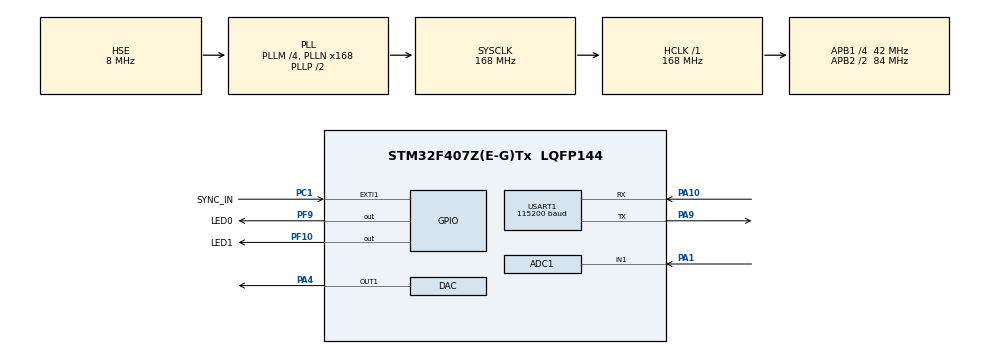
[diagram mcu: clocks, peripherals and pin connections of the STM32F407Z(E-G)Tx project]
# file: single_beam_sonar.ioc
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ADC1.Channel-0\#ChannelRegularConversion=ADC_CHANNEL_1
ADC1.DMAContinuousRequests=ENABLE
ADC1.ExternalTrigConv=ADC_EXTERNALTRIGCONV_T2_TRGO
ADC1.NbrOfConversion=1
ADC1.NbrOfConversionFlag=1
ADC1.Rank-0\#ChannelRegularConversion=1
ADC1.SamplingTime-0\#ChannelRegularConversion=ADC_SAMPLETIME_3CYCLES
ADC1.master=1
DAC.DAC_OutputBuffer=DAC_OUTPUTBUFFER_DISABLE
DAC.DAC_Trigger=DAC_TRIGGER_T2_TRGO
Dma.ADC1.1.Direction=DMA_PERIPH_TO_MEMORY
Dma.ADC1.1.FIFOMode=DMA_FIFOMODE_DISABLE
Dma.ADC1.1.Instance=DMA2_Stream0
Dma.ADC1.1.MemDataAlignment=DMA_MDATAALIGN_HALFWORD
Dma.ADC1.1.MemInc=DMA_MINC_ENABLE
Dma.ADC1.1.Mode=DMA_NORMAL
Dma.ADC1.1.PeriphDataAlignment=DMA_PDATAALIGN_HALFWORD
Dma.ADC1.1.PeriphInc=DMA_PINC_DISABLE
Dma.ADC1.1.Priority=DMA_PRIORITY_LOW
Dma.DAC1.0.Direction=DMA_MEMORY_TO_PERIPH
Dma.DAC1.0.FIFOMode=DMA_FIFOMODE_DISABLE
Dma.DAC1.0.Instance=DMA1_Stream5
Dma.DAC1.0.MemDataAlignment=DMA_MDATAALIGN_HALFWORD
Dma.DAC1.0.MemInc=DMA_MINC_ENABLE
Dma.DAC1.0.Mode=DMA_NORMAL
Dma.DAC1.0.PeriphDataAlignment=DMA_PDATAALIGN_HALFWORD
Dma.DAC1.0.PeriphInc=DMA_PINC_DISABLE
Dma.DAC1.0.Priority=DMA_PRIORITY_LOW
Dma.Request0=DAC1
Dma.Request1=ADC1
Mcu.Family=STM32F4
Mcu.Name=STM32F407Z(E-G)Tx
Mcu.Package=LQFP144
NVIC.DMA1_Stream5_IRQn=true\:0\:0\:false\:false\:true\:false\:true\:true
NVIC.DMA2_Stream0_IRQn=true\:0\:0\:false\:false\:true\:false\:true\:true
NVIC.EXTI1_IRQn=true\:0\:0\:false\:false\:true\:true\:true\:true
NVIC.PriorityGroup=NVIC_PRIORITYGROUP_4
NVIC.TIM7_IRQn=true\:0\:0\:false\:false\:true\:true\:true\:true
NVIC.USART1_IRQn=true\:0\:0\:false\:false\:true\:true\:true\:true
PA1.Signal=ADCx_IN1
PA10.Mode=Asynchronous
PA10.Signal=USART1_RX
PA4.Signal=COMP_DAC1_group
PA9.Mode=Asynchronous
PA9.Signal=USART1_TX
PC1.GPIO_Label=SYNC_IN
PC1.GPIO_PuPd=GPIO_PULLDOWN
PC1.Signal=GPXTI1
PF10.GPIO_Label=LED1
PF10.PinState=GPIO_PIN_SET
PF10.Signal=GPIO_Output
PF9.GPIO_Label=LED0
PF9.PinState=GPIO_PIN_SET
PF9.Signal=GPIO_Output
PH0-OSC_IN.Mode=HSE-External-Oscillator
PH0-OSC_IN.Signal=RCC_OSC_IN
PH1-OSC_OUT.Mode=HSE-External-Oscillator
PH1-OSC_OUT.Signal=RCC_OSC_OUT
ProjectManager.HeapSize=0x200
ProjectManager.StackSize=0x400
ProjectManager.TargetToolchain=CMake
RCC.48MHZClocksFreq_Value=84000000
RCC.AHBFreq_Value=168000000
RCC.APB1CLKDivider=RCC_HCLK_DIV4
RCC.APB1Freq_Value=42000000
RCC.APB1TimFreq_Value=84000000
RCC.APB2CLKDivider=RCC_HCLK_DIV2
RCC.APB2Freq_Value=84000000
RCC.APB2TimFreq_Value=168000000
RCC.CortexFreq_Value=168000000
RCC.HCLKFreq_Value=168000000
RCC.HSE_VALUE=8000000
RCC.HSI_VALUE=16000000
RCC.LSE_VALUE=32768
RCC.PLLM=4
RCC.PLLN=168
RCC.PLLSourceVirtual=RCC_PLLSOURCE_HSE
RCC.SYSCLKFreq_VALUE=168000000
RCC.SYSCLKSource=RCC_SYSCLKSOURCE_PLLCLK
RCC.VCOOutputFreq_Value=336000000
SH.ADCx_IN1.0=ADC1_IN1,IN1
SH.COMP_DAC1_group.0=DAC_OUT1,DAC_OUT1
TIM2.AutoReloadPreload=TIM_AUTORELOAD_PRELOAD_ENABLE
TIM2.Period=168-1
TIM2.TIM_MasterOutputTrigger=TIM_TRGO_UPDATE
TIM7.Period=1000-1
TIM7.Prescaler=8400-1
USART1.BaudRate=115200
USART1.VirtualMode=VM_ASYNC
VP_TIM2_VS_ClockSourceINT.Mode=Internal
VP_TIM7_VS_ClockSourceINT.Mode=Enable_Timer
board=custom

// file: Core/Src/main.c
/* USER CODE BEGIN Header */
/**
  ******************************************************************************
  * @file           : main.c
  * @brief          : Main program body
  ******************************************************************************
  * @attention
  *
  * Copyright (c) 2026 STMicroelectronics.
  * All rights reserved.
  *
  * This software is licensed under terms that can be found in the LICENSE file
  * in the root directory of this software component.
  * If no LICENSE file comes with this software, it is provided AS-IS.
  *
  ******************************************************************************
  */
/* USER CODE END Header */
#include "main.h"
#include "adc.h"
#include "dac.h"
#include "dma.h"
#include "tim.h"
#include "usart.h"
#include "gpio.h"

/* USER CODE BEGIN Includes */
#include "lfm_data.h"
#include "arm_math.h"
#include <stdio.h>      // 修复 sprintf 警告
#include <string.h>     // 修复 strlen 警告
#include "dsp_process.h" // 告诉 main 函数 DSP_Init 和 DSP_RunMatchFilter 是什么
#include "test_echo.h"  // 包含测试回波数据的头文件
/* USER CODE END Includes */

/* USER CODE BEGIN PD */
// 接收调试（分置换能器）置零长度：接收端不发射、无电串扰，默认不置零。
// 若功放 EMI 在起始处造成尖峰，可改为 20~50（须远小于直达波 index，如 0.3m≈100）。
#define RX_DEBUG_BLANK 0
/* USER CODE END PD */

/* USER CODE BEGIN PV */
uint8_t rx_data[2]; // 用于存放接收到的 0x0D 和 0x00/01
uint16_t adc_raw[4096];        // 关键：定义 ADC 原始数据缓冲区
volatile uint8_t adc_complete_flag = 0; // 关键：定义采集完成标志位

typedef struct {
    GPIO_TypeDef* port;
    uint16_t pin;
    uint8_t count;      // 剩余翻转次数 (闪烁5次 = 10次翻转)
    uint8_t is_active;  // 是否正在闪烁
} LED_Blinker_t;

LED_Blinker_t blinker0 = {GPIOF, GPIO_PIN_9, 0, 0};
LED_Blinker_t blinker1 = {GPIOF, GPIO_PIN_10, 0, 0};

volatile uint8_t sim_mode = 0; // 增加 volatile 确保调试器修改后 CPU 能立即察觉

// ===== 调试模式相关状态 =====
volatile uint8_t tx_debug = 0;          // 发射调试激活
volatile uint8_t rx_debug = 0;          // 接收调试激活
volatile uint8_t sync_flag = 0;         // AWG Sync 触发标志（PC1 EXTI 置位）
volatile uint16_t tx_period_ms = 100;   // 发射重复周期(ms)，默认100
volatile uint32_t last_tx_tick = 0;     // 上次发射时刻
volatile uint8_t dump_request = 0;      // 请求导出一帧 raw
volatile uint8_t rx_expect_period = 0;  // 1=等待接收周期参数(2字节)
volatile uint8_t adc_acquiring = 0;     // 1=正在采集（防止页面3画到半帧）
volatile uint8_t wave_pending = 0;      // 请求在页面3显示最近一帧波形
/* USER CODE END PV */

void SystemClock_Config(void);

/* USER CODE BEGIN 0 */
void Start_Blink(LED_Blinker_t* b) {
    b->count = 10;     // 设置翻转10次（5次亮灭）
    b->is_active = 1;
}

// 将 adc_raw[4096] 以二进制帧导出：AA 55 | len(2字节小端,=4096) | 4096*uint16(小端)
void Dump_ADC_Raw(void) {
    uint8_t hdr[4] = {0xAA, 0x55, 0x00, 0x10}; // 0x1000 = 4096 样本数
    HAL_UART_Transmit(&huart1, hdr, 4, 100);

    uint8_t* p = (uint8_t*)adc_raw;
    uint32_t len = sizeof(adc_raw); // 8192 字节
    uint32_t sent = 0;
    while (sent < len) {
        uint32_t chunk = (len - sent) > 256 ? 256 : (len - sent);
        HAL_UART_Transmit(&huart1, p + sent, chunk, 1000);
        sent += chunk;
    }
}

/* ---------- 淘晶驰串口屏命令辅助（页面3波形/文本） ---------- */
// 发送一条淘晶驰命令，自动追加 FF FF FF 结束符
static void TJC_Send(const char* cmd) {
    HAL_UART_Transmit(&huart1, (uint8_t*)cmd, strlen(cmd), 100);
    uint8_t end[3] = {0xFF, 0xFF, 0xFF};
    HAL_UART_Transmit(&huart1, end, 3, 100);
}

static void Wave_Clear(const char* obj, uint8_t ch) {
    char buf[20];
    snprintf(buf, sizeof(buf), "cle %s,%d", obj, (int)ch);
    TJC_Send(buf);
}

static void Wave_Add(const char* obj, uint8_t ch, uint8_t val) {
    char buf[24];
    snprintf(buf, sizeof(buf), "add %s,%d,%d", obj, (int)ch, (int)val);
    TJC_Send(buf);
}

static void Text_Set(const char* obj, const char* txt) {
    char buf[40];
    snprintf(buf, sizeof(buf), "%s.txt=\"%s\"", obj, txt);
    TJC_Send(buf);
}

// 在页面3显示"最近一帧"：s0=原始包络, s1=匹配输出, v_vpp/v_peak/v_dist=文本
// 调用前应确保 adc_raw 与 DSP 匹配输出属于同一完整帧（见 adc_acquiring 保护）
void Display_Debug_Curves(void) {
    const uint16_t N = 512;              // 波形点数
    const uint16_t STEP = FFT_LEN / N;   // 4096/512 = 8
    const float32_t* match = DSP_GetMatchOutput();

    // 1) 匹配输出峰值（索引 + 幅度）—— 与 s1 曲线严格对应
    float32_t peak_amp = 0.0f;
    uint32_t peak_idx = 0;
    for (uint32_t i = 0; i < FFT_LEN; i++) {
        if (match[i] > peak_amp) { peak_amp = match[i]; peak_idx = i; }
    }

    // 2) 原始时域 Vpp（伏特）与距离
    uint16_t raw_min = 4095, raw_max = 0;
    for (uint32_t i = 0; i < FFT_LEN; i++) {
        if (adc_raw[i] < raw_min) raw_min = adc_raw[i];
        if (adc_raw[i] > raw_max) raw_max = adc_raw[i];
    }
    float32_t vpp  = (float32_t)(raw_max - raw_min) * 3.3f / 4096.0f;
    float32_t dist = ((float32_t)peak_idx / FS) * V_SOUND / 2.0f;

    // 3) 清波形
    Wave_Clear("s0", 0);
    Wave_Clear("s1", 0);

    // 4) 每 8 点合并为 1 点，交替发送两条曲线
    for (uint16_t n = 0; n < N; n++) {
        uint16_t base = n * STEP;

        // s0：原始包络 = 组内 max(|adc-2048|)，缩放到 0~255
        uint16_t env = 0;
        for (uint16_t k = 0; k < STEP; k++) {
            int32_t v = (int32_t)adc_raw[base + k] - 2048;
            if (v < 0) v = -v;
            if ((uint16_t)v > env) env = (uint16_t)v;
        }
        uint8_t val0 = (uint8_t)((uint32_t)env * 255U / 2048U);

        // s1：匹配输出 = 组内最大，按本帧峰值归一化到 0~255
        float32_t m = 0.0f;
        for (uint16_t k = 0; k < STEP; k++) {
            float32_t v = match[base + k];
            if (v > m) m = v;
        }
        uint8_t val1 = (peak_amp > 0.0f) ? (uint8_t)(m / peak_amp * 255.0f) : 0U;

        Wave_Add("s0", 0, val0);
        Wave_Add("s1", 0, val1);
    }

    // 5) 文本
    char tbuf[24];
    snprintf(tbuf, sizeof(tbuf), "%.3fV", (double)vpp);
    Text_Set("v_vpp", tbuf);
    snprintf(tbuf, sizeof(tbuf), "%lu", (unsigned long)peak_idx);
    Text_Set("v_peak", tbuf);
    snprintf(tbuf, sizeof(tbuf), "%.3fm", (double)dist);
    Text_Set("v_dist", tbuf);
}
/* USER CODE END 0 */

int main(void)
{

  /* MCU Configuration--------------------------------------------------------*/

  /* Reset of all peripherals, Initializes the Flash interface and the Systick. */
  HAL_Init();

  /* Configure the system clock */
  SystemClock_Config();

  /* Initialize all configured peripherals */
  MX_GPIO_Init();
  MX_DMA_Init();
  MX_DAC_Init();
  MX_USART1_UART_Init();
  MX_TIM7_Init();
  MX_ADC1_Init();
  MX_TIM2_Init();
  /* USER CODE BEGIN 2 */
  DSP_Init();

  // 1. 启动用于控制 LED 闪烁的定时器 TIM7 (保持开启，等待 count 变化)
  HAL_TIM_Base_Start_IT(&htim7);

  // 2. 开启一次串口接收中断，准备接收你发的 0D 00 或 0D 01
  HAL_UART_Receive_IT(&huart1, rx_data, 2);

  // 3. 发送开机问候语，顺便验证波特率是否正常
  uint8_t start_msg[] = "System Ready - Waiting for 0D 00 or 0D 01\r\n";
  HAL_UART_Transmit(&huart1, start_msg, sizeof(start_msg), 100);

  //强制静态输出测试
  HAL_DAC_Start(&hdac, DAC_CHANNEL_1);
  HAL_DAC_SetValue(&hdac, DAC_CHANNEL_1, DAC_ALIGN_12B_R, 2048); // 强制输出 1.65V

  // 让 ADC 进入 DMA 待命状态，等待 TIM2 触发 =====
  HAL_ADC_Start_DMA(&hadc1, (uint32_t*)adc_raw, 4096);

  // float32_t test_val = 3.14159265f;
  // float32_t result;

  // // 调用 DSP 库函数计算 sin(π)
  // result = arm_sin_f32(test_val);

  // // 通过串口打印结果
  // char msg[64];
  // // 注意：如果你的 printf 不支持浮点，可以手动转成整数部分和小数部分打印
  // sprintf(msg, "DSP Test: sin(PI) = %f\r\n", (double)result);
  // HAL_UART_Transmit(&huart1, (uint8_t*)msg, strlen(msg), 100);

  /* USER CODE END 2 */

  /* Infinite loop */
  /* USER CODE BEGIN WHILE */
  while (1)
  {
    // ===== 发射调试：按周期反复发送 LFM =====
    if (tx_debug)
    {
        if ((HAL_GetTick() - last_tx_tick) >= tx_period_ms)
        {
            HAL_DAC_Start_DMA(&hdac, DAC_CHANNEL_1, (uint32_t*)LFM_SIGNAL, LFM_DATA_LEN, DAC_ALIGN_12B_R);
            last_tx_tick = HAL_GetTick();
        }
    }

    // ===== 接收调试：AWG Sync 触发一次采集 =====
    if (rx_debug && sync_flag)
    {
        sync_flag = 0;
        HAL_ADC_Stop_DMA(&hadc1);
        HAL_TIM_Base_Start(&htim2);                     // 启动 500kHz 触发
        HAL_ADC_Start_DMA(&hadc1, (uint32_t*)adc_raw, 4096);
        adc_acquiring = 1;                              // 标记采集中
    }

    // ===== 采集完成处理 =====
    if (adc_complete_flag || (sim_mode == 1 && !rx_debug && !tx_debug))
    {
        adc_complete_flag = 0;

        if (rx_debug)
        {
            // 接收调试：跑 DSP 填充匹配输出，等下一个 sync（不向屏幕发连续文本）
            float32_t result_dist = 0;
            uint32_t pk = 0;
            DSP_RunMatchFilter(adc_raw, &result_dist, &pk, RX_DEBUG_BLANK);
        }
        else
        {
            // 正常 / 仿真模式
            if (sim_mode == 1)
            {
                sim_mode = 0;
                HAL_ADC_Stop_DMA(&hadc1);
                memcpy(adc_raw, matlab_sim_echo, sizeof(uint16_t) * 4096);
            }

            float32_t result_dist = 0;
            if (DSP_RunMatchFilter(adc_raw, &result_dist, NULL, BLANK_IDX) == DSP_SUCCESS)
            {
                char screen_buf[32];
                int dist_mm = (int)(result_dist * 1000);
                snprintf(screen_buf, sizeof(screen_buf), "x0.val=%d", dist_mm);
                HAL_UART_Transmit(&huart1, (uint8_t*)screen_buf, strlen(screen_buf), 100);
                uint8_t end_cmd[3] = {0xFF, 0xFF, 0xFF};
                HAL_UART_Transmit(&huart1, end_cmd, 3, 100);
            }

            // 重新进入 ADC 待命，准备下一轮
            HAL_ADC_Start_DMA(&hadc1, (uint32_t*)adc_raw, 4096);
        }
    }

    // ===== 导出原始 ADC 数据 =====
    if (dump_request)
    {
        dump_request = 0;
        Dump_ADC_Raw();
    }

    // ===== 页面3显示最近一帧波形（按需，保证同一完整帧） =====
    if (wave_pending && !adc_acquiring)
    {
        wave_pending = 0;
        Display_Debug_Curves();
    }
    /* USER CODE END WHILE */

  }
}

void SystemClock_Config(void)
{
  RCC_OscInitTypeDef RCC_OscInitStruct = {0};
  RCC_ClkInitTypeDef RCC_ClkInitStruct = {0};

  /** Configure the main internal regulator output voltage
  */
  __HAL_RCC_PWR_CLK_ENABLE();
  __HAL_PWR_VOLTAGESCALING_CONFIG(PWR_REGULATOR_VOLTAGE_SCALE1);

  /** Initializes the RCC Oscillators according to the specified parameters
  * in the RCC_OscInitTypeDef structure.
  */
  RCC_OscInitStruct.OscillatorType = RCC_OSCILLATORTYPE_HSE;
  RCC_OscInitStruct.HSEState = RCC_HSE_ON;
  RCC_OscInitStruct.PLL.PLLState = RCC_PLL_ON;
  RCC_OscInitStruct.PLL.PLLSource = RCC_PLLSOURCE_HSE;
  RCC_OscInitStruct.PLL.PLLM = 4;
  RCC_OscInitStruct.PLL.PLLN = 168;
  RCC_OscInitStruct.PLL.PLLP = RCC_PLLP_DIV2;
  RCC_OscInitStruct.PLL.PLLQ = 4;
  if (HAL_RCC_OscConfig(&RCC_OscInitStruct) != HAL_OK)
  {
    Error_Handler();
  }

  /** Initializes the CPU, AHB and APB buses clocks
  */
  RCC_ClkInitStruct.ClockType = RCC_CLOCKTYPE_HCLK|RCC_CLOCKTYPE_SYSCLK
                              |RCC_CLOCKTYPE_PCLK1|RCC_CLOCKTYPE_PCLK2;
  RCC_ClkInitStruct.SYSCLKSource = RCC_SYSCLKSOURCE_PLLCLK;
  RCC_ClkInitStruct.AHBCLKDivider = RCC_SYSCLK_DIV1;
  RCC_ClkInitStruct.APB1CLKDivider = RCC_HCLK_DIV4;
  RCC_ClkInitStruct.APB2CLKDivider = RCC_HCLK_DIV2;

  if (HAL_RCC_ClockConfig(&RCC_ClkInitStruct, FLASH_LATENCY_5) != HAL_OK)
  {
    Error_Handler();
  }
}

/* USER CODE BEGIN 4 */
void HAL_TIM_PeriodElapsedCallback(TIM_HandleTypeDef *htim) {
    if (htim->Instance == TIM7) {
        // 处理 LED0
        if (blinker0.is_active && blinker0.count > 0) {
            HAL_GPIO_TogglePin(blinker0.port, blinker0.pin);
            blinker0.count--;
            if (blinker0.count == 0) {
                blinker0.is_active = 0;
                HAL_GPIO_WritePin(blinker0.port, blinker0.pin, GPIO_PIN_SET); // 确保最后是灭的
            }
        }
        // 处理 LED1
        if (blinker1.is_active && blinker1.count > 0) {
            HAL_GPIO_TogglePin(blinker1.port, blinker1.pin);
            blinker1.count--;
            if (blinker1.count == 0) {
                blinker1.is_active = 0;
                HAL_GPIO_WritePin(blinker1.port, blinker1.pin, GPIO_PIN_SET); // 确保最后是灭的
            }
        }
    }
}

void HAL_UART_RxCpltCallback(UART_HandleTypeDef *huart)
{
    if(huart->Instance == USART1) // 确保是对应的串口
    {
        if(rx_expect_period)
        {
            // 收到周期参数：2 字节小端(ms)
            tx_period_ms = rx_data[0] | ((uint16_t)rx_data[1] << 8);
            if(tx_period_ms < 1) tx_period_ms = 1;
            rx_expect_period = 0;
        }
        else if(rx_data[0] == 0x0D)
        {
            switch(rx_data[1])
            {
                case 0x00: // LED0 闪烁
                    Start_Blink(&blinker0);
                    break;

                case 0x01: // 单次发射（正常测距）
                    Start_Blink(&blinker1);
                    HAL_DAC_Start_DMA(&hdac, DAC_CHANNEL_1, (uint32_t*)LFM_SIGNAL, LFM_DATA_LEN, DAC_ALIGN_12B_R);
                    HAL_TIM_Base_Start(&htim2);
                    adc_acquiring = 1; // 标记采集中
                    break;

                case 0x02: // 进入调试模式（占位）
                    break;

                case 0x03: // 发射调试开始
                    rx_debug = 0;
                    HAL_ADC_Stop_DMA(&hadc1);       // 停 ADC，避免干扰
                    HAL_TIM_Base_Start(&htim2);     // TIM2 常开触发 DAC
                    tx_debug = 1;
                    last_tx_tick = HAL_GetTick();
                    break;

                case 0x04: // 发射调试停止
                    tx_debug = 0;
                    HAL_TIM_Base_Stop(&htim2);
                    HAL_DAC_Stop_DMA(&hdac, DAC_CHANNEL_1);
                    HAL_DAC_Start(&hdac, DAC_CHANNEL_1);
                    HAL_DAC_SetValue(&hdac, DAC_CHANNEL_1, DAC_ALIGN_12B_R, 2048);
                    HAL_ADC_Start_DMA(&hadc1, (uint32_t*)adc_raw, 4096);
                    break;

                case 0x05: // 接收调试开始
                    tx_debug = 0;
                    HAL_TIM_Base_Stop(&htim2);
                    HAL_DAC_Stop_DMA(&hdac, DAC_CHANNEL_1);
                    HAL_DAC_Start(&hdac, DAC_CHANNEL_1);
                    HAL_DAC_SetValue(&hdac, DAC_CHANNEL_1, DAC_ALIGN_12B_R, 2048);
                    HAL_ADC_Stop_DMA(&hadc1);
                    rx_debug = 1;
                    sync_flag = 0;
                    break;

                case 0x06: // 接收调试停止
                    rx_debug = 0;
                    HAL_TIM_Base_Stop(&htim2);
                    HAL_ADC_Stop_DMA(&hadc1);
                    HAL_ADC_Start_DMA(&hadc1, (uint32_t*)adc_raw, 4096);
                    break;

                case 0x07: // 退出调试，回正常模式
                    tx_debug = 0;
                    rx_debug = 0;
                    HAL_TIM_Base_Stop(&htim2);
                    HAL_DAC_Stop_DMA(&hdac, DAC_CHANNEL_1);
                    HAL_DAC_Start(&hdac, DAC_CHANNEL_1);
                    HAL_DAC_SetValue(&hdac, DAC_CHANNEL_1, DAC_ALIGN_12B_R, 2048);
                    HAL_ADC_Stop_DMA(&hadc1);
                    HAL_ADC_Start_DMA(&hadc1, (uint32_t*)adc_raw, 4096);
                    break;

                case 0x08: // 设置发射周期，等待 2 字节参数
                    rx_expect_period = 1;
                    break;

                case 0x09: // 导出一帧 raw
                    dump_request = 1;
                    break;

                case 0x0B: // 页面3显示最近一帧波形（原始包络 + 匹配输出 + 文本）
                    wave_pending = 1;
                    break;

                default:
                    break;
            }
        }

        HAL_UART_Receive_IT(huart, rx_data, 2);
    }
}

void HAL_GPIO_EXTI_Callback(uint16_t GPIO_Pin)
{
    if(GPIO_Pin == SYNC_IN_Pin)
    {
        sync_flag = 1; // AWG Sync 上升沿，请求一次采集
    }
}

void HAL_UART_ErrorCallback(UART_HandleTypeDef *huart)
{
    if(huart->Instance == USART1)
    {
        // 溢出(ORE)等错误会中止接收，这里清标志并重新使能接收，避免"收一次后死机"
        __HAL_UART_CLEAR_OREFLAG(huart);
        HAL_UART_Receive_IT(huart, rx_data, 2);
    }
}

void HAL_ADC_ConvCpltCallback(ADC_HandleTypeDef* hadc) {
    adc_acquiring = 0; // 采集完成
    if(tx_debug) {
        return; // 发射调试不关心回波（ADC 已停用）
    }
    if(rx_debug) {
        HAL_TIM_Base_Stop(&htim2); // 收完这一帧就停，等下一个 sync
        adc_complete_flag = 1;
        return;
    }
    HAL_TIM_Base_Stop(&htim2); // 正常模式：停止采样
    adc_complete_flag = 1;     // 置标志位
}
/* USER CODE END 4 */

void Error_Handler(void)
{
  __disable_irq();
  while (1)
  {
  }
}
